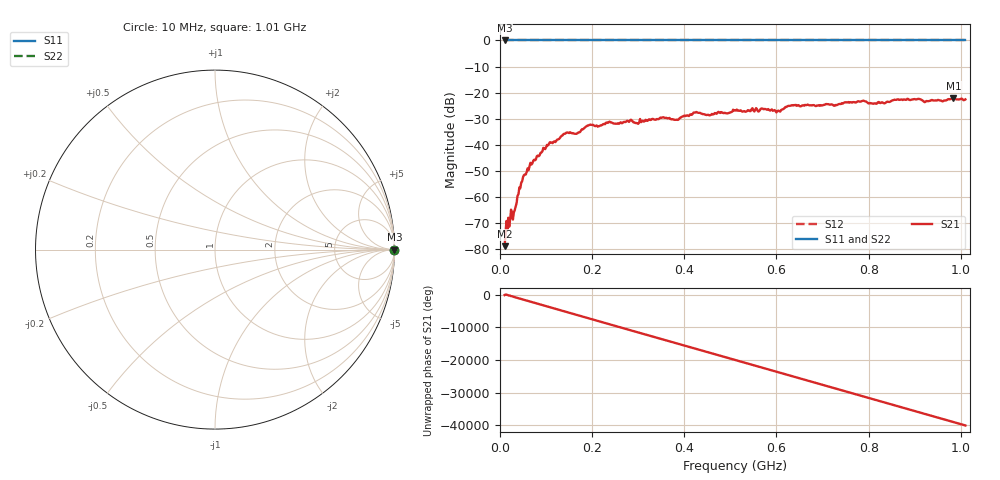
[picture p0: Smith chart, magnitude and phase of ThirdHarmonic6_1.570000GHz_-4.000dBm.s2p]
! 8/16/2025 6:39:53 PM
! C:\ANRITSUVNA\TEMP\TEMP.S2P
! CHANNEL.1
! TR.MEASUREMENT
! RAW.DATA
! RF.CORRECTION.OFF
! AVERAGING.OFF
! IF.BANDWIDTH: 5KHZ
! SWEEPTYPE:  FREQ.SWEEP(Linear)
! Reference Plane Port Info
! PORT:  PORT1  PORT2
! DISTANCE:  0  m  0  m
! TIME:  0  s  0  s
! PHASE.OFFSET:  0  deg.  0  deg.
! LOSS:  0  dB  0  dB
! REF.LOSS:  0  dB  0  dB
! REF.FREQ:  0  Hz  0  Hz
! Power Info
! POWER:  -20  dBm  -20  dBm
! EFF.POWER:  -20  dBm  -20  dBm
! SOURCE.ATTEN:  0  dB  0  dB
! TEST.ATTEN:  0  dB  0  dB
# GHZ S RI R 50.0
! FREQ.GHZ  S11RE  S11IM  S21RE  S21IM  S12RE  S12IM  S22RE  S22IM
!; PortSelection: Port_12
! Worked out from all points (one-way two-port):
!   501 points, 10 MHz to 1.01 GHz, reference 50 ohm
!   highest |S21| = -22.23 dB at 984 MHz (marker M1); lowest = -78.8 dB at 10 MHz (marker M2)
!   lowest |S11| = 0.0 dB at 10 MHz (marker M3)
!   |S11| at or under -10 dB: nowhere
!   |S22| runs from 0.0 to 0.0 dB; largest |S21 - S12| = 1.1
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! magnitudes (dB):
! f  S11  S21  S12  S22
! 10 MHz  0.0  -78.8  0.0  0.0
! 22 MHz  0.0  -68.5  0.0  0.0
! 32 MHz  0.0  -65.0  0.0  0.0
! 42 MHz  0.0  -56.2  0.0  0.0
! 50 MHz  0.0  -52.3  0.0  0.0
! 70 MHz  0.0  -47.2  0.0  0.0
! 106 MHz  0.0  -39.7  0.0  0.0
! 142 MHz  0.0  -35.6  0.0  0.0
! 178 MHz  0.0  -34.0  0.0  0.0
! 234 MHz  0.0  -31.6  0.0  0.0
! 298 MHz  0.0  -31.7  0.0  0.0
! 344 MHz  0.0  -30.2  0.0  0.0
! 382 MHz  0.0  -30.4  0.0  0.0
! 424 MHz  0.0  -27.6  0.0  0.0
! 452 MHz  0.0  -28.4  0.0  0.0
! 510 MHz  0.0  -26.8  0.0  0.0
! 604 MHz  0.0  -26.9  0.0  0.0
! 630 MHz  0.0  -25.0  0.0  0.0
! 678 MHz  0.0  -24.8  0.0  0.0
! 844 MHz  0.0  -23.6  0.0  0.0
! 984 MHz  0.0  -22.2  0.0  0.0
! 1.01 GHz  0.0  -22.6  0.0  0.0
